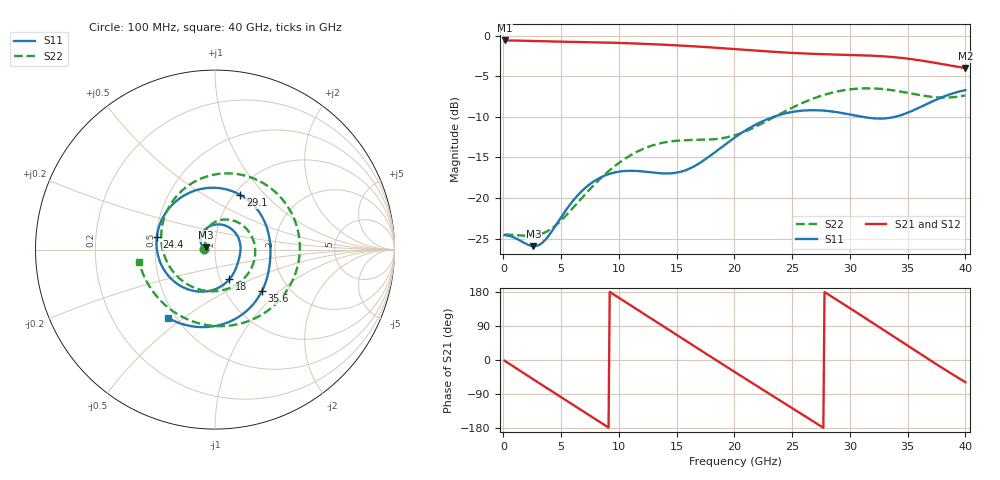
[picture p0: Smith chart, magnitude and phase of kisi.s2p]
! D_s8_cap_10: L1 (ref L2 GND) → L3 (ref L4 PWR), capacitor GND–PWR at 10 mm
! stackup: 8-layer 1.6 mm FR-4 (generic)
! ports: 1, 2
! kisi-fdtd, conformal, dfine 0.0175 mm (the cell at metal ÷ 2), 3375036 cells
# Hz S RI R 50
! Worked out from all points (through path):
!   400 points, 100 MHz to 40 GHz, reference 50 ohm
!   highest |S21| = -0.59 dB at 100 MHz (marker M1); lowest = -4.0 dB at 40 GHz (marker M2)
!   group delay of S21, straight-line fit = 54 ps
!   lowest |S11| = -25.9 dB at 2.6 GHz (marker M3), VSWR 1.11, Z = 45.3 + j1.15 ohm
!   |S11| at or under -10 dB: start of sweep to 23.4 GHz; 31.08 GHz to 33.91 GHz (2.83 GHz wide, 8.71 % of centre)
!   |S22| runs from -24.7 to -6.5 dB; largest |S21 - S12| = 0.0011
!   S11 on the Smith chart (normalised r, x): 100 MHz: 0.89, +0.00; 18 GHz: 1.11, -0.38; 24.4 GHz: 0.51, +0.08; 29.1 GHz: 1.07, +0.73; 35.6 GHz: 1.46, -0.77; 40 GHz: 0.45, -0.44
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1e8  -0.059 0.0011  0.9338 -0.0323  0.9329 -0.0322  -0.0595 0.00122
1.3e9  -0.0541 0.0116  0.8398 -0.4049  0.8396 -0.4041  -0.057 0.0149
2.6e9  -0.0489 0.0127  0.5794 -0.724  0.5801 -0.7238  -0.0528 0.0255
4.7e9  -0.0682 0.019  -0.0375 -0.9184  -0.0378 -0.919  -0.0553 0.0422
6.8e9  -0.0767 0.0796  -0.6265 -0.6648  -0.6267 -0.6644  -0.0576 0.082
8.4e9  -0.0276 0.1307  -0.8761 -0.2413  -0.8758 -0.2412  -0.0346 0.1271
9.9e9  0.0489 0.1363  -0.8759 0.2182  -0.8759 0.2179  0.019 0.1614
1.18e10  0.1247 0.0764  -0.5594 0.6958  -0.5596 0.6959  0.1203 0.155
1.34e10  0.1422 0.00672  -0.1151 0.8754  -0.115 0.8755  0.1978 0.0859
1.54e10  0.1296 -0.0658  0.4552 0.7398  0.4553 0.7396  0.2177 -0.0618
1.68e10  0.1115 -0.1161  0.7342 0.4424  0.7341 0.4423  0.1584 -0.1638
1.8e10  0.0798 -0.166  0.8388 0.1133  0.8387 0.1134  0.0652 -0.22
2.01e10  -0.0482 -0.2328  0.6925 -0.4504  0.6927 -0.4504  -0.136 -0.203
2.23e10  -0.2455 -0.1614  0.2028 -0.7788  0.2027 -0.7789  -0.2843 -0.0267
2.44e10  -0.3239 0.072  -0.34 -0.7099  -0.34 -0.7098  -0.2696 0.2114
2.67e10  -0.1544 0.3112  -0.7244 -0.2702  -0.7243 -0.2704  -0.0625 0.4017
2.91e10  0.1404 0.305  -0.6881 0.3319  -0.6884 0.3319  0.2547 0.3782
3.14e10  0.2898 0.1198  -0.2493 0.7131  -0.249 0.7132  0.4592 0.1171
3.34e10  0.3078 -0.0464  0.2587 0.6947  0.2586 0.6943  0.4226 -0.1914
3.56e10  0.261 -0.2324  0.6416 0.3099  0.6414 0.3103  0.1429 -0.4119
3.76e10  0.0945 -0.3956  0.6572 -0.156  0.6579 -0.1561  -0.1856 -0.3731
4e10  -0.26 -0.3815  0.3289 -0.5387  0.3279 -0.5392  -0.4235 -0.0667
